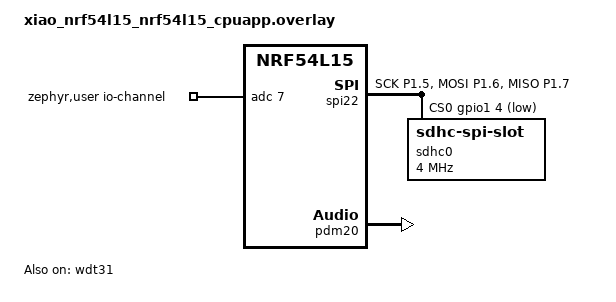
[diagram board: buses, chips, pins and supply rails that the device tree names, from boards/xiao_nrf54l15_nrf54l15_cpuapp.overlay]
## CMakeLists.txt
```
# SPDX-License-Identifier: Apache-2.0

cmake_minimum_required(VERSION 3.20.0)

find_package(Zephyr REQUIRED HINTS $ENV{ZEPHYR_BASE})
project(audio_recorder)

target_sources(app PRIVATE src/main.c src/ble_audio.c)

# Opus encoder library
add_subdirectory(lib/opus)
target_include_directories(app PRIVATE
  ${CMAKE_CURRENT_SOURCE_DIR}/lib/opus-1.5.2/include
  ${CMAKE_CURRENT_SOURCE_DIR}/lib/opus
)
target_link_libraries(app PRIVATE opus)
```

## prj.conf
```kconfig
# SPDX-License-Identifier: Apache-2.0
# XIAO nRF54L15 - Audio recorder (DEFAULT: USB / DEBUG)
# Logs via UART (COM6) and serial terminal

# UART console
CONFIG_SERIAL=y
CONFIG_UART_CONSOLE=y
CONFIG_CONSOLE_SUBSYS=y
CONFIG_PRINTK=y
CONFIG_STDOUT_CONSOLE=y

# Disable RTT (UART mode)
CONFIG_USE_SEGGER_RTT=n
CONFIG_RTT_CONSOLE=n
# Logging via UART
CONFIG_LOG=y
CONFIG_LOG_BACKEND_UART=y
CONFIG_LOG_BACKEND_RTT=n

CONFIG_RING_BUFFER_LARGE=y
CONFIG_GPIO=y
CONFIG_SPI=y
CONFIG_AUDIO=y
CONFIG_AUDIO_DMIC=y
CONFIG_ADC=y

# SD card
CONFIG_SDHC=y
CONFIG_DISK_ACCESS=y
CONFIG_DISK_DRIVER_SDMMC=y
CONFIG_SD_RETRY_COUNT=5
CONFIG_SD_CMD_RETRIES=3
CONFIG_SD_DATA_RETRIES=3
CONFIG_SD_DATA_TIMEOUT=2000
CONFIG_SD_CMD_TIMEOUT=300

CONFIG_WATCHDOG=y
CONFIG_POWEROFF=y
CONFIG_HWINFO=y

# FAT
CONFIG_FILE_SYSTEM=y
CONFIG_FILE_SYSTEM_MKFS=y
CONFIG_FAT_FILESYSTEM_ELM=y
CONFIG_FS_FATFS_LFN=y
CONFIG_FS_FATFS_LFN_MODE_STACK=y

# Stacks
CONFIG_MAIN_STACK_SIZE=4096
CONFIG_SYSTEM_WORKQUEUE_STACK_SIZE=4096
CONFIG_HEAP_MEM_POOL_SIZE=32768
CONFIG_IDLE_STACK_SIZE=2048

# Power down unused RAM blocks in System-ON idle (lowers idle current).
CONFIG_RAM_POWER_DOWN_LIBRARY=y

# Bluetooth
CONFIG_BT=y
CONFIG_BT_PERIPHERAL=y
CONFIG_BT_SMP=y
CONFIG_BT_SETTINGS=y
CONFIG_BT_KEYS_OVERWRITE_OLDEST=y
CONFIG_BT_DEVICE_NAME="AudioRec"
CONFIG_BT_MAX_CONN=1
CONFIG_BT_MAX_PAIRED=1
# Fixed application passkey (123456) for pairing. The app_passkey()
# callback provides it; the phone prompts the user to enter it.
CONFIG_BT_APP_PASSKEY=y
CONFIG_BT_GATT_DYNAMIC_DB=y
CONFIG_BT_BUF_ACL_RX_SIZE=251
CONFIG_BT_CTLR_DATA_LENGTH_MAX=251
CONFIG_BT_CTLR_PHY_2M=y
CONFIG_BT_L2CAP_DYNAMIC_CHANNEL=y
CONFIG_BT_CONN_PARAM_UPDATE_TIMEOUT=100
CONFIG_FLASH=y
CONFIG_FLASH_MAP=y
CONFIG_NVS=y
CONFIG_SETTINGS=y
```

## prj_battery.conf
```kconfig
# SPDX-License-Identifier: Apache-2.0
# XIAO nRF54L15 - Audio recorder (BATTERY / PRODUCTION)
# Overlay: west build ... -- -DOVERLAY_CONFIG="prj_battery.conf"
# UART disabled: required for boot from 3.7V LiPo on HW rev v1.0
# printf output via RTT only (J-Link / CMSIS-DAP RTT Viewer)

# RTT console (no UART). Note: LOG subsystem is fully off (see below),
# so RTT here is only for printk/printf, not for the LOG API.
CONFIG_USE_SEGGER_RTT=y
CONFIG_RTT_CONSOLE=y

# Disable UART completely (saves ~170 uA idle + flash)
CONFIG_SERIAL=n
CONFIG_UART_CONSOLE=n
CONFIG_STDOUT_CONSOLE=n

# Disable the LOG subsystem entirely for production (saves flash).
# Must be off so its RTT/UART backends are not pulled in. Explicitly
# disable the backends too so the base prj.conf (LOG=y) assignments do
# not raise unsatisfied-dependency warnings.
CONFIG_LOG=n
CONFIG_LOG_BACKEND_UART=n
CONFIG_LOG_BACKEND_RTT=n
CONFIG_CONSOLE_SUBSYS=n

# Power down unused RAM blocks in System-ON idle.
# (Main DCDC regulator is already enabled via the board DT vregmain node.)
CONFIG_RAM_POWER_DOWN_LIBRARY=y

# System OFF wake support
CONFIG_HWINFO=y
```

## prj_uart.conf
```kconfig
# SPDX-License-Identifier: Apache-2.0
# XIAO nRF54L15 - Audio recorder (USB / DEBUG MODE)
# Overlay: west build ... -- -DOVERLAY_CONFIG="prj_uart.conf"
# Enables UART console for serial logs via USB-C

# UART console
CONFIG_SERIAL=y
CONFIG_UART_CONSOLE=y
CONFIG_CONSOLE_SUBSYS=y
CONFIG_PRINTK=y
CONFIG_STDOUT_CONSOLE=y

# Disable RTT (UART mode)
CONFIG_USE_SEGGER_RTT=n
CONFIG_RTT_CONSOLE=n

# Logging via UART
CONFIG_LOG=y
CONFIG_LOG_BACKEND_UART=y
CONFIG_LOG_BACKEND_RTT=n

# System OFF wake support
CONFIG_HWINFO=y
```

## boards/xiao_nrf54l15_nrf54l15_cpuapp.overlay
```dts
/*
 * SD card on HARDWARE SPI (SPIM22) + PDM microphone + button + LED
 * for Seeed XIAO nRF54L15.
 *
 * Wiring:
 *   SD card:
 *     SCK  = P1.05 (D1)
 *     MOSI = P1.06 (D2)
 *     MISO = P1.07 (D3)
 *     CS   = P1.04 (D0)
 *   PDM mic:
 *     CLK  = P1.12
 *     DAT  = P1.13
 *   Button = P0.00
 *   LED    = P2.00
 */

&pinctrl {
	spi22_sd_default: spi22_sd_default {
		group1 {
			psels = <NRF_PSEL(SPIM_SCK, 1, 5)>,    /* D1  P1.05 */
				<NRF_PSEL(SPIM_MOSI, 1, 6)>,   /* D2  P1.06 */
				<NRF_PSEL(SPIM_MISO, 1, 7)>;   /* D3  P1.07 */
		};
	};

	spi22_sd_sleep: spi22_sd_sleep {
		group1 {
			psels = <NRF_PSEL(SPIM_SCK, 1, 5)>,
				<NRF_PSEL(SPIM_MOSI, 1, 6)>,
				<NRF_PSEL(SPIM_MISO, 1, 7)>;
			low-power-enable;
		};
	};
};

/* Free serial-22 from its default I2C role so it can be an SPI master. */
&i2c22 {
	status = "disabled";
};

/* Default board hardware SPI (SPIM00 on P2) is unused now. */
&xiao_spi {
	status = "disabled";
};

/* Disable peripherals the audio recorder never uses. Each one that stays
 * enabled keeps a clock/power domain alive and pulls in driver code/flash.
 * - i2c30 + on-board IMU (lsm6ds3tr): no motion sensing in this app.
 * - spi00: we use SPIM22 for the SD card.
 * - uart21: console is on uart20; the second UART is unused.
 * - temp: internal temp sensor, unused.
 * - nfct: NFC antenna front-end, unused (its pins can leak if left on). */
&i2c30 { status = "disabled"; };
&spi00  { status = "disabled"; };
&uart21 { status = "disabled"; };
&temp   { status = "disabled"; };
&nfct   { status = "disabled"; };

&spi22 {
	compatible = "nordic,nrf-spim";
	pinctrl-0 = <&spi22_sd_default>;
	pinctrl-1 = <&spi22_sd_sleep>;
	pinctrl-names = "default", "sleep";
	status = "okay";

	cs-gpios = <&gpio1 4 (GPIO_ACTIVE_LOW | GPIO_PULL_UP)>;   /* D0 P1.04 */

	sdhc0: sdhc@0 {
		compatible = "zephyr,sdhc-spi-slot";
		reg = <0>;
		status = "okay";
		/* 4 MHz: more timing margin for marginal cards/wiring than 8 MHz,
		 * still far faster than the ~64 KiB/s audio needs. */
		spi-max-frequency = <4000000>;

		mmc {
			compatible = "zephyr,sdmmc-disk";
			disk-name = "SD";
			status = "okay";
		};
	};
};

/* Enable the hardware watchdog (WDT31) so a hung thread reboots the SoC. */
&wdt31 {
	status = "okay";
};

/* PDM microphone on P1.12 (CLK) / P1.13 (DIN) - default board pins.
 * queue-size kept small (6): our own 64 KiB ring buffer absorbs SD
 * latency, and a small driver queue avoids mem-slab exhaustion that would
 * otherwise stop the PDM peripheral. */
&pdm20 {
	status = "okay";
	pinctrl-0 = <&pdm20_default>;
	pinctrl-names = "default";
	clock-source = "PCLK32M";
	queue-size = <6>;
};

/ {
	aliases {
		sdhc0 = &sdhc0;
	};

	/* Battery voltage measurement: AIN7 is fed by the on-board VBAT
	 * divider (enabled by the vbat_pwr regulator). Read via the
	 * zephyr,user io-channel so the SAADC gain/reference (1/4 gain,
	 * 0.9 V internal ref on nRF54L15) is handled by the ADC framework. */
	zephyr,user {
		io-channels = <&adc 7>;
	};
};
```

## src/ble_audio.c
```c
/*
 * BLE Audio Streaming — peripheral with fixed passkey pairing,
 * custom GATT audio + battery service.
 *
 * Custom service UUID:  12345678-1234-5678-1234-56789abcdef0
 * Audio characteristic: 12345678-1234-5678-1234-56789abcdef1 (notify)
 * Battery characteristic: 12345678-1234-5678-1234-56789abcdef2 (read+notify)
 *                        value = uint16 little-endian battery voltage, mV
 *
 * Pairing uses a fixed passkey (BLE_FIXED_PASSKEY = 123456). The device
 * has DisplayOnly IO capability (it "knows" the passkey and shows it via
 * the app_passkey callback), so the phone side prompts the user to enter
 * the passkey.
 */

#include "ble_audio.h"

#include <zephyr/kernel.h>
#include <zephyr/sys/printk.h>
#include <zephyr/sys/byteorder.h>
#include <zephyr/bluetooth/bluetooth.h>
#include <zephyr/bluetooth/hci.h>
#include <zephyr/bluetooth/conn.h>
#include <zephyr/bluetooth/uuid.h>
#include <zephyr/bluetooth/gatt.h>
#include <zephyr/settings/settings.h>

/* ---- UUIDs ---- */
#define BT_UUID_AUDIO_SVC_VAL \
	BT_UUID_128_ENCODE(0x12345678, 0x1234, 0x5678, 0x1234, 0x56789abcdef0)
#define BT_UUID_AUDIO_DATA_VAL \
	BT_UUID_128_ENCODE(0x12345678, 0x1234, 0x5678, 0x1234, 0x56789abcdef1)
#define BT_UUID_AUDIO_BATT_VAL \
	BT_UUID_128_ENCODE(0x12345678, 0x1234, 0x5678, 0x1234, 0x56789abcdef2)
#define BT_UUID_AUDIO_PASS_VAL \
	BT_UUID_128_ENCODE(0x12345678, 0x1234, 0x5678, 0x1234, 0x56789abcdef3)

static const struct bt_uuid_128 audio_svc_uuid  = BT_UUID_INIT_128(BT_UUID_AUDIO_SVC_VAL);
static const struct bt_uuid_128 audio_data_uuid = BT_UUID_INIT_128(BT_UUID_AUDIO_DATA_VAL);
static const struct bt_uuid_128 audio_batt_uuid = BT_UUID_INIT_128(BT_UUID_AUDIO_BATT_VAL);
static const struct bt_uuid_128 audio_pass_uuid = BT_UUID_INIT_128(BT_UUID_AUDIO_PASS_VAL);

/* ---- State ---- */
static struct bt_conn *current_conn;
static bool ntf_enabled;
static volatile bool app_authed;  /* true after correct password write */

static uint16_t batt_mv_le;     /* battery voltage, little-endian, mV */
static bool batt_ntf_enabled;

/* Forward declaration: BT_GATT_SERVICE_DEFINE() (below) instantiates
 * `audio_svc` as a bt_gatt_service_static. The CCC callbacks need to
 * reference it to resolve the value attribute for notifications. */
extern const struct bt_gatt_service_static audio_svc;

/* Recording status reported by the audio "read" characteristic.
 * main.c updates this via ble_audio_set_recording(). */
static volatile uint8_t rec_status_byte;

void ble_audio_set_recording(bool recording)
{
	rec_status_byte = recording ? 1 : 0;
}

/* ---- GATT callbacks ---- */
static void audio_ccc_changed(const struct bt_gatt_attr *attr, uint16_t value)
{
	ntf_enabled = (value == BT_GATT_CCC_NOTIFY);
	printk("BLE audio notify: %s\n", ntf_enabled ? "ON" : "OFF");
}

static ssize_t read_audio(struct bt_conn *conn, const struct bt_gatt_attr *attr,
			  void *buf, uint16_t len, uint16_t offset)
{
	/* Return a status byte: 1 = recording, 0 = idle */
	return bt_gatt_attr_read(conn, attr, buf, len, offset,
				 (void *)&rec_status_byte, 1);
}

static void batt_ccc_changed(const struct bt_gatt_attr *attr, uint16_t value)
{
	bool was = batt_ntf_enabled;
	batt_ntf_enabled = (value == BT_GATT_CCC_NOTIFY);
	printk("BLE battery notify: %s\n", batt_ntf_enabled ? "ON" : "OFF");

	/* As soon as the peer subscribes, push the current value so the
	 * phone shows the battery state immediately after connecting. */
	if (batt_ntf_enabled && !was && current_conn) {
		bt_gatt_notify(current_conn, &audio_svc.attrs[4],
			       &batt_mv_le, sizeof(batt_mv_le));
	}
}

static ssize_t read_batt(struct bt_conn *conn, const struct bt_gatt_attr *attr,
			 void *buf, uint16_t len, uint16_t offset)
{
	return bt_gatt_attr_read(conn, attr, buf, len, offset,
				 &batt_mv_le, sizeof(batt_mv_le));
}

/* ---- Password ---- */
static void pass_ccc_changed(const struct bt_gatt_attr *attr, uint16_t value)
{
	/* No notifications from password char; CCC exists only for
	 * future use or to match the Bluetooth spec layout. */
}

static ssize_t read_pass(struct bt_conn *conn, const struct bt_gatt_attr *attr,
			 void *buf, uint16_t len, uint16_t offset)
{
	uint8_t status = app_authed ? 1 : 0;
	return bt_gatt_attr_read(conn, attr, buf, len, offset, &status, 1);
}

static ssize_t write_pass(struct bt_conn *conn, const struct bt_gatt_attr *attr,
			  const void *buf, uint16_t len, uint16_t offset,
			  uint8_t flags)
{
	const char correct[] = "123456";

	if (len != sizeof(correct) - 1 || memcmp(buf, correct, len) != 0) {
		printk("BLE password: wrong (len=%u)\n", len);
		return BT_GATT_ERR(BT_ATT_ERR_AUTHORIZATION);
	}

	app_authed = true;
	printk("BLE password: OK, audio unlocked\n");
	return len;
}

/* ---- GATT service definition ----
 * Attribute layout (indices into audio_svc.attrs[]):
 *   [0] primary service
 *   [1] audio data characteristic declaration
 *   [2] audio data value            <- ble_audio_send() targets [1]->value
 *   [3] audio data CCC
 *   [4] battery characteristic declaration
 *   [5] battery value               <- battery notify targets [4]->value
 *   [6] battery CCC
 *   [7] password characteristic declaration
 *   [8] password value
 *   [9] password CCC
 */
BT_GATT_SERVICE_DEFINE(audio_svc,
	BT_GATT_PRIMARY_SERVICE(&audio_svc_uuid),
	BT_GATT_CHARACTERISTIC(&audio_data_uuid.uuid,
			       BT_GATT_CHRC_READ | BT_GATT_CHRC_NOTIFY,
			       BT_GATT_PERM_READ,
			       read_audio, NULL, NULL),
	BT_GATT_CCC(audio_ccc_changed,
		    BT_GATT_PERM_READ | BT_GATT_PERM_WRITE),
	BT_GATT_CHARACTERISTIC(&audio_batt_uuid.uuid,
			       BT_GATT_CHRC_READ | BT_GATT_CHRC_NOTIFY,
			       BT_GATT_PERM_READ,
			       read_batt, NULL, NULL),
	BT_GATT_CCC(batt_ccc_changed,
		    BT_GATT_PERM_READ | BT_GATT_PERM_WRITE),
	BT_GATT_CHARACTERISTIC(&audio_pass_uuid.uuid,
			       BT_GATT_CHRC_READ | BT_GATT_CHRC_WRITE,
			       BT_GATT_PERM_READ | BT_GATT_PERM_WRITE,
			       read_pass, write_pass, NULL),
	BT_GATT_CCC(pass_ccc_changed,
		    BT_GATT_PERM_READ | BT_GATT_PERM_WRITE),
);

/* ---- Advertising data ---- */
static const struct bt_data ad[] = {
	BT_DATA_BYTES(BT_DATA_FLAGS, (BT_LE_AD_GENERAL | BT_LE_AD_NO_BREDR)),
	BT_DATA_BYTES(BT_DATA_UUID128_ALL, BT_UUID_AUDIO_SVC_VAL),
};

static const struct bt_data sd[] = {
	BT_DATA(BT_DATA_NAME_COMPLETE, CONFIG_BT_DEVICE_NAME,
		sizeof(CONFIG_BT_DEVICE_NAME) - 1),
};

/* ---- Connection callbacks ---- */
static void connected(struct bt_conn *conn, uint8_t err)
{
	if (err) {
		printk("BLE conn fail 0x%02x\n", err);
		return;
	}
	printk("BLE connected\n");
	if (current_conn) {
		bt_conn_unref(current_conn);
	}
	current_conn = bt_conn_ref(conn);
	/* Request authenticated pairing (passkey 123456). */
	bt_conn_set_security(conn, BT_SECURITY_L2);
}

static void disconnected(struct bt_conn *conn, uint8_t reason)
{
	printk("BLE disconnected (0x%02x)\n", reason);
	if (current_conn) {
		bt_conn_unref(current_conn);
		current_conn = NULL;
	}
	ntf_enabled = false;
	batt_ntf_enabled = false;
	app_authed = false;
	/* Auto-restart advertising */
	bt_le_adv_start(BT_LE_ADV_CONN_FAST_1, ad, ARRAY_SIZE(ad), sd, ARRAY_SIZE(sd));
}

static void security_changed(struct bt_conn *conn, bt_security_t level,
			     enum bt_security_err err)
{
	if (err) {
		printk("BLE security fail %d\n", err);
		return;
	}
	printk("BLE security level %d\n", level);

	/* Once the link is encrypted, push the latest battery reading so the
	 * phone shows the battery state right away (even before the periodic
	 * update). */
	if (level >= BT_SECURITY_L1 && batt_mv_le != 0) {
		bt_gatt_notify(conn, &audio_svc.attrs[4],
			       &batt_mv_le, sizeof(batt_mv_le));
	}
}

BT_CONN_CB_DEFINE(conn_callbacks) = {
	.connected = connected,
	.disconnected = disconnected,
	.security_changed = security_changed,
};

/* ---- Bond management (fixed passkey 123456) ---- */
static void auth_passkey_display(struct bt_conn *conn, unsigned int passkey)
{
	printk("BLE pairing passkey: %06u (enter on phone)\n", passkey);
}

static void auth_cancel(struct bt_conn *conn)
{
	printk("BLE pairing cancelled\n");
}

#if defined(CONFIG_BT_APP_PASSKEY)
static uint32_t auth_app_passkey(struct bt_conn *conn)
{
	/* Always offer the fixed passkey so the phone prompts for it. */
	printk("BLE offering fixed passkey %06u\n", BLE_FIXED_PASSKEY);
	return BLE_FIXED_PASSKEY;
}
#endif

static void pairing_complete(struct bt_conn *conn, bool bonded)
{
	printk("BLE pairing %s\n", bonded ? "complete (bonded)" : "done (not bonded)");
}

static void pairing_failed(struct bt_conn *conn, enum bt_security_err reason)
{
	printk("BLE pairing failed (%d)\n", reason);
}

static struct bt_conn_auth_cb auth_cb = {
	.passkey_display = auth_passkey_display,
	.cancel = auth_cancel,
#if defined(CONFIG_BT_APP_PASSKEY)
	.app_passkey = auth_app_passkey,
#endif
};

static struct bt_conn_auth_info_cb auth_info_cb = {
	.pairing_complete = pairing_complete,
	.pairing_failed = pairing_failed,
};

/* ---- Public API ---- */

int ble_audio_init(void)
{
	int err;

	err = bt_enable(NULL);
	if (err) {
		printk("BLE init fail %d\n", err);
		return err;
	}
	printk("BLE initialized\n");

	if (IS_ENABLED(CONFIG_SETTINGS)) {
		settings_load();
	}

	bt_conn_auth_cb_register(&auth_cb);
	bt_conn_auth_info_cb_register(&auth_info_cb);

	printk("BLE fixed passkey: %06u\n", BLE_FIXED_PASSKEY);
	return 0;
}

int ble_audio_start_advertising(bool pairing_mode)
{
	int err;

	/* If pairing mode, delete all bonds first. */
	if (pairing_mode) {
		ble_audio_clear_bonds();
		printk("BLE: pairing mode (bonds cleared)\n");
	}

	bt_le_adv_stop();
	err = bt_le_adv_start(BT_LE_ADV_CONN_FAST_1,
			      ad, ARRAY_SIZE(ad),
			      sd, ARRAY_SIZE(sd));
	if (err) {
		printk("BLE adv start fail %d\n", err);
		return err;
	}
	printk("BLE advertising started (%s)\n",
	       pairing_mode ? "pairing" : "normal");
	return 0;
}

int ble_audio_send(const uint8_t *data, uint16_t len)
{
	if (!current_conn || !ntf_enabled) {
		return -ENOTCONN;
	}
	if (!app_authed) {
		return -EACCES;
	}

	/* audio_svc.attrs[1] is the audio-data characteristic declaration;
	 * bt_gatt_notify resolves it to the value handle + CCC. */
	return bt_gatt_notify(current_conn, &audio_svc.attrs[1], data, len);
}

bool ble_audio_is_connected(void)
{
	return current_conn != NULL && ntf_enabled;
}

bool ble_audio_has_conn(void)
{
	return current_conn != NULL;
}

void ble_audio_clear_bonds(void)
{
	int err = bt_unpair(BT_ID_DEFAULT, NULL);
	if (err) {
		printk("BLE clear bonds fail %d\n", err);
	} else {
		printk("BLE bonds cleared\n");
	}
}

void ble_audio_set_battery_mv(uint16_t mv)
{
	uint16_t le = sys_cpu_to_le16(mv);

	if (le == batt_mv_le) {
		return;
	}
	batt_mv_le = le;

	/* Notify subscribers (and all connected peers if any). */
	if (batt_ntf_enabled && current_conn) {
		bt_gatt_notify(current_conn, &audio_svc.attrs[4],
			       &batt_mv_le, sizeof(batt_mv_le));
	}
}

uint16_t ble_audio_get_battery_mv(void)
{
	return sys_le16_to_cpu(batt_mv_le);
}

bool ble_audio_is_authed(void)
{
	return app_authed;
}
```

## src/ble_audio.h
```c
/*
 * BLE Audio Streaming — peripheral with fixed passkey pairing,
 * custom GATT audio + battery service.
 */
#ifndef BLE_AUDIO_H
#define BLE_AUDIO_H

#include <stdint.h>
#include <stdbool.h>

/* Fixed 6-digit passkey used for SMP pairing. The phone side must
 * enter this exact value when prompted by the OS pairing dialog. */
#define BLE_FIXED_PASSKEY 123456u

/* Initialize BLE stack, load bonds. */
int ble_audio_init(void);

/* Start advertising.  If pairing_mode is true, the device accepts new bonds.
 * Otherwise it only reconnects to the last bonded peer. */
int ble_audio_start_advertising(bool pairing_mode);

/* Send one opus packet via GATT notification.  Returns 0 on success,
 * -ENOTCONN if not connected, -EAGAIN if notifications are not enabled. */
int ble_audio_send(const uint8_t *data, uint16_t len);

/* True when a central is connected and audio notifications are enabled. */
bool ble_audio_is_connected(void);

/* True when any central is currently connected (regardless of CCC). */
bool ble_audio_has_conn(void);

/* Delete all stored bonds. */
void ble_audio_clear_bonds(void);

/* Update the recording-status byte returned by the audio read
 * characteristic (1 = recording, 0 = idle). */
void ble_audio_set_recording(bool recording);

/* Update the battery voltage exposed over GATT (millivolts).
 * Notifies connected peers that subscribed to battery notifications. */
void ble_audio_set_battery_mv(uint16_t mv);

/* Last reported battery voltage (millivolts). */
uint16_t ble_audio_get_battery_mv(void);

/* True after the central has written the correct password (123456). */
bool ble_audio_is_authed(void);

#endif /* BLE_AUDIO_H */
```
